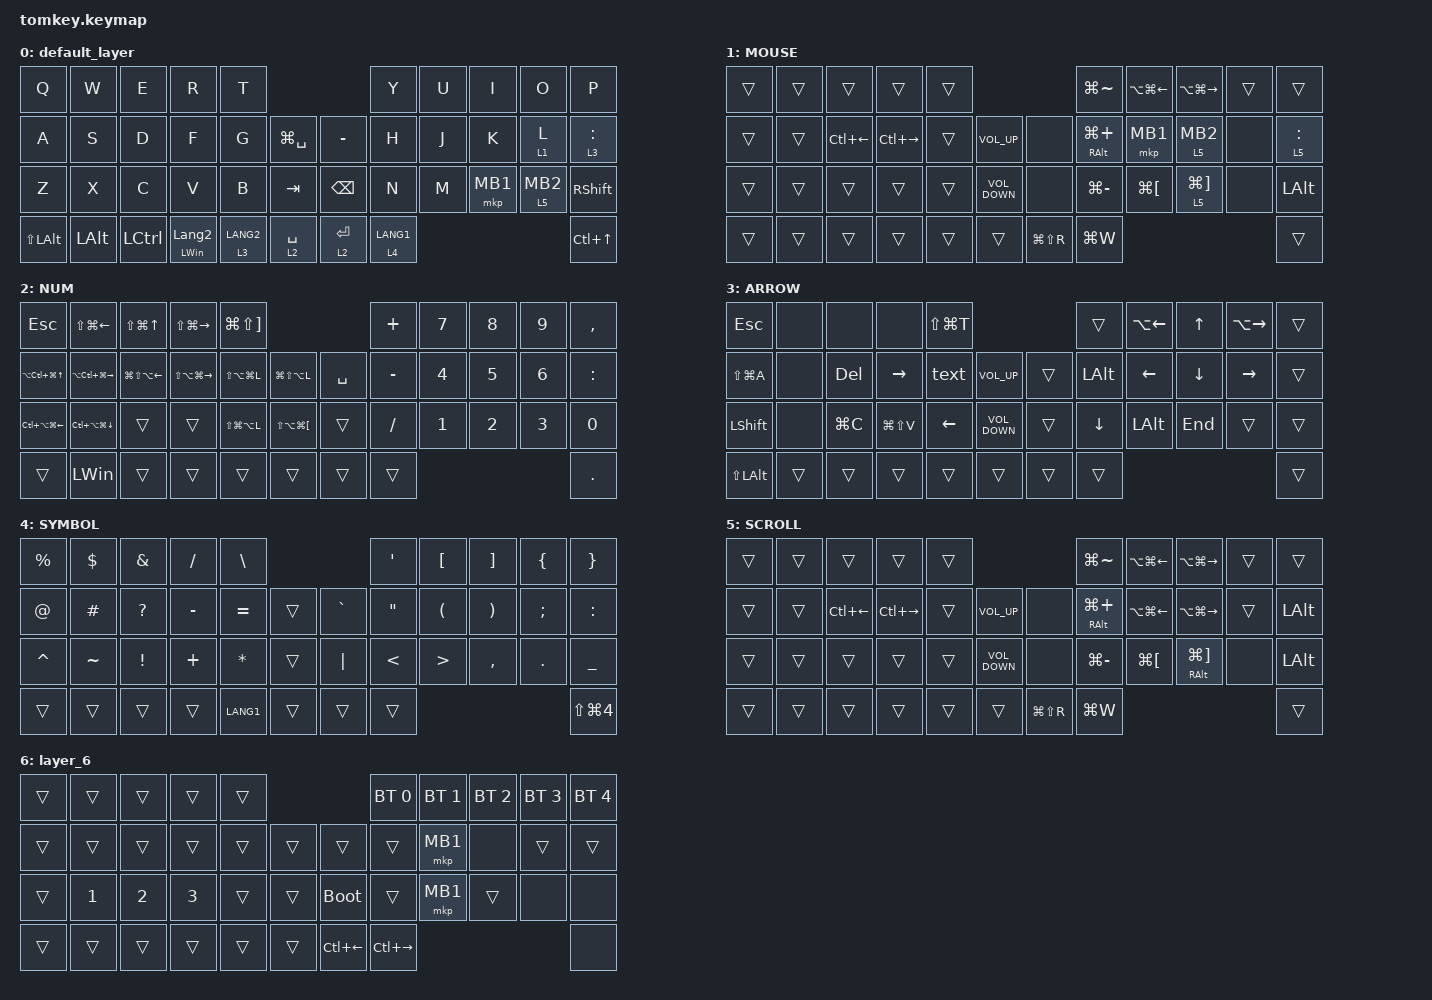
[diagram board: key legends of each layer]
#include <behaviors.dtsi>
#include <dt-bindings/zmk/bt.h>
#include <dt-bindings/zmk/keys.h>
#include <dt-bindings/zmk/pointing.h>

#define MOUSE 1
#define SCROLL 5
#define NUM 6
#define ZMK_POINTING_DEFAULT_SCRL_VAL 100

/ {
    macros {
        mouce_and_layer: mouce_and_layer {
            compatible = "zmk,behavior-hold-tap";
            label = "MOUCE_AND_LAYER";
            bindings = <&mo>, <&mkp>;

            #binding-cells = <2>;
            tapping-term-ms = <200>;
        };

        text: pass {
            compatible = "zmk,behavior-macro";
            #binding-cells = <0>;
            bindings = <&kp LS(K) &kp I &kp J &kp U &kp M &kp O &kp N8 &kp N0 &kp UNDER>;
            label = "PASS";
        };
    };

    combos {
        compatible = "zmk,combos";

        layer6 {
            bindings = <&mo 6>;
            key-positions = <34 35>;
        };
    };

    behaviors {
    };

    keymap {
        compatible = "zmk,keymap";

        default_layer {
            bindings = <
&kp Q             &kp W         &kp E      &kp R                    &kp T                                          &kp Y        &kp U  &kp I     &kp O                   &kp P
&kp A             &kp S         &kp D      &kp F                    &kp G        &kp LG(SPACE)      &kp MINUS      &kp H        &kp J  &kp K     &lt 1 L                 &lt 3 COLON
&kp Z             &kp X         &kp C      &kp V                    &kp B        &kp TAB            &kp BACKSPACE  &kp N        &kp M  &mkp MB1  &mouce_and_layer 5 MB2  &kp RSHIFT
&kp LS(LEFT_ALT)  &kp LEFT_ALT  &kp LCTRL  &mt LEFT_WIN LANGUAGE_2  &lt 3 LANG2  &lt 2 SPACE        &lt 2 ENTER    &lt 4 LANG1                                           &kp LC(UP)
            >;
        };

        MOUSE {
            bindings = <
&trans  &trans  &trans        &trans         &trans                                        &kp LG(TILDE)           &kp LA(LG(LEFT))      &kp LA(LG(RIGHT))        &trans  &trans
&trans  &trans  &kp LC(LEFT)  &kp LC(RIGHT)  &trans  &kp C_VOLUME_UP        &none          &mt RIGHT_ALT LG(PLUS)  &mkp MB1              &mouce_and_layer 5 MB2   &none   &lt 5 COLON
&trans  &trans  &trans        &trans         &trans  &kp C_VOLUME_DOWN      &none          &kp LG(MINUS)           &kp LG(LEFT_BRACKET)  &lt 5 LG(RIGHT_BRACKET)  &none   &kp LEFT_ALT
&trans  &trans  &trans        &trans         &trans  &trans                 &kp LG(LS(R))  &kp LG(W)                                                                      &trans
            >;
        };

        NUM {
            bindings = <
&kp ESC               &kp LS(LG(LEFT))            &kp LS(LG(UP_ARROW))  &kp LS(LG(RIGHT))      &kp LG(LS(RIGHT_BRACKET))                                               &kp PLUS   &kp N7        &kp N8        &kp N9        &kp COMMA
&kp LA(LC(LG(UP)))    &kp LA(LC(LG(RIGHT)))       &kp LG(LS(LA(LEFT)))  &kp LS(LA(LG(RIGHT)))  &kp LS(LA(LG(L)))          &kp LG(LS(LA(L)))                 &kp SPACE  &kp MINUS  &kp N4        &kp N5        &kp NUMBER_6  &kp COLON
&kp LC(LA(LG(LEFT)))  &kp LC(LA(LG(DOWN_ARROW)))  &trans                &trans                 &kp LS(LG(LA(L)))          &kp LS(LA(LG(LEFT_BRACKET)))      &trans     &kp SLASH  &kp NUMBER_1  &kp NUMBER_2  &kp NUMBER_3  &kp N0
&trans                &kp LEFT_WIN                &trans                &trans                 &trans                     &trans                            &trans     &trans                                               &kp PERIOD
            >;
        };

        ARROW {
            bindings = <
&kp ESCAPE        &none   &none       &none            &kp LS(LG(T))                                 &trans        &kp LA(LEFT)  &kp UP_ARROW  &kp LA(RIGHT)  &trans
&kp LS(LG(A))     &none   &kp DELETE  &kp RIGHT_ARROW  &text          &kp C_VOLUME_UP        &trans  &kp LEFT_ALT  &kp LEFT      &kp DOWN      &kp RIGHT      &trans
&kp LEFT_SHIFT    &none   &kp LG(C)   &kp LG(LS(V))    &kp LEFT       &kp C_VOLUME_DOWN      &trans  &kp DOWN      &kp LEFT_ALT  &kp END       &trans         &trans
&kp LS(LEFT_ALT)  &trans  &trans      &trans           &trans         &trans                 &trans  &trans                                                   &trans
            >;
        };

        SYMBOL {
            bindings = <
&kp PERCENT  &kp DOLLAR  &kp AMPERSAND    &kp SLASH  &kp BACKSLASH                         &kp SQT            &kp LEFT_BRACKET      &kp RIGHT_BRACKET      &kp LEFT_BRACE  &kp RIGHT_BRACE
&kp AT_SIGN  &kp HASH    &kp QUESTION     &kp MINUS  &kp EQUAL      &trans      &kp GRAVE  &kp DOUBLE_QUOTES  &kp LEFT_PARENTHESIS  &kp RIGHT_PARENTHESIS  &kp SEMI        &kp COLON
&kp CARET    &kp TILDE   &kp EXCLAMATION  &kp PLUS   &kp ASTRK      &trans      &kp PIPE   &kp LT             &kp GREATER_THAN      &kp COMMA              &kp PERIOD      &kp UNDERSCORE
&trans       &trans      &trans           &trans     &kp LANG1      &trans      &trans     &trans                                                                          &kp LS(LG(NUMBER_4))
            >;
        };

        SCROLL {
            bindings = <
&trans  &trans  &trans        &trans         &trans                                        &kp LG(TILDE)           &kp LA(LG(LEFT))      &kp LA(LG(RIGHT))                &trans  &trans
&trans  &trans  &kp LC(LEFT)  &kp LC(RIGHT)  &trans  &kp C_VOLUME_UP        &none          &mt RIGHT_ALT LG(PLUS)  &kp LA(LG(LEFT))      &kp LA(LG(RIGHT))                &trans  &kp LEFT_ALT
&trans  &trans  &trans        &trans         &trans  &kp C_VOLUME_DOWN      &none          &kp LG(MINUS)           &kp LG(LEFT_BRACKET)  &mt RIGHT_ALT LG(RIGHT_BRACKET)  &none   &kp LEFT_ALT
&trans  &trans  &trans        &trans         &trans  &trans                 &kp LG(LS(R))  &kp LG(W)                                                                              &trans
            >;
        };

        layer_6 {
            bindings = <
&trans  &trans        &trans        &trans        &trans                            &bt BT_SEL 0   &bt BT_SEL 1  &bt BT_SEL 2  &bt BT_SEL 3  &bt BT_SEL 4
&trans  &trans        &trans        &trans        &trans  &trans      &trans        &trans         &mkp MB1      &none         &trans        &trans
&trans  &kp NUMBER_1  &kp NUMBER_2  &kp NUMBER_3  &trans  &trans      &bootloader   &trans         &mkp MB1      &trans        &none         &none
&trans  &trans        &trans        &trans        &trans  &trans      &kp LC(LEFT)  &kp LC(RIGHT)                                            &none
            >;
        };
    };
};
